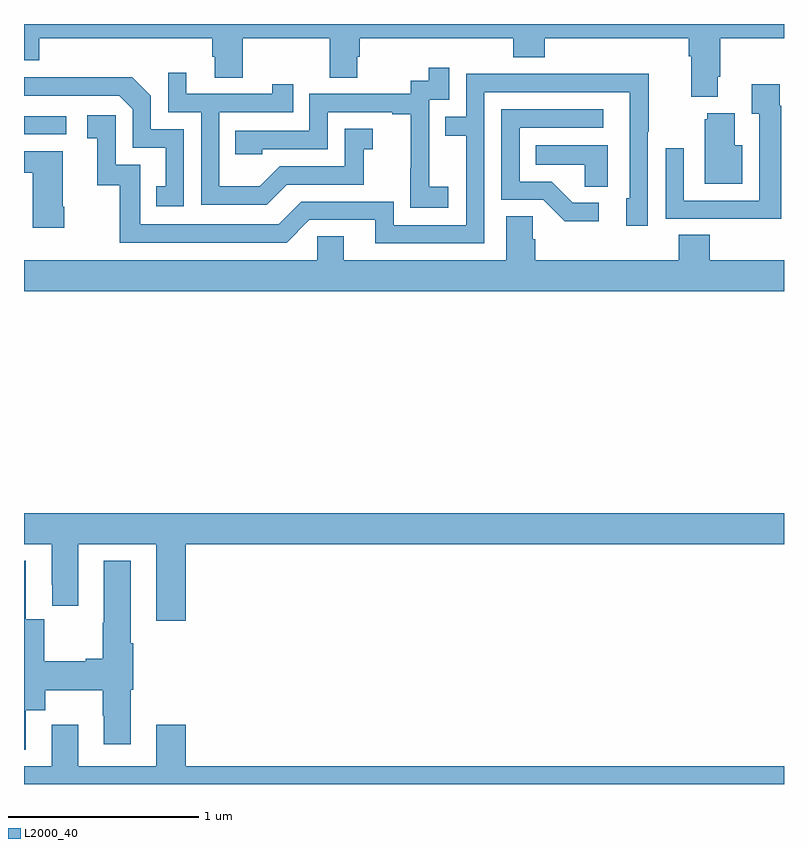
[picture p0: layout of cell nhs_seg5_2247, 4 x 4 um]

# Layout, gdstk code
import gdstk
lib = gdstk.Library(unit=1e-6, precision=1e-09)
def R(c, l, rs):  # rectangles x0, y0, x1, y1
    for r in rs: c.add(gdstk.rectangle(r[:2], r[2:], *l))
def P(c, l, *ps):  # polygons
    for p in ps: c.add(gdstk.Polygon(p, *l))
L2000_40 = (2000, 40)

nhs_seg5_2247 = lib.new_cell('nhs_seg5_2247')
R(nhs_seg5_2247, L2000_40, [(241,892.218,241.222,892.314)])
P(nhs_seg5_2247, L2000_40, [(244.651,892.522),(244.664,892.522),(244.664,892.724),(245,892.724),(245,892.799),(241,892.799),(241,892.607),(241.079,892.607),(241.079,892.724),(241.991,892.724),(241.991,892.626),(242.003,892.626),(242.003,892.516),(242.151,892.516),(242.151,892.724),(242.608,892.724),(242.608,892.516),(242.755,892.516),(242.755,892.626),(242.768,892.626),(242.768,892.724),(243.575,892.724),(243.575,892.625),(243.74,892.625),(243.74,892.724),(244.499,892.724),(244.499,892.628),(244.511,892.628),(244.511,892.415),(244.651,892.415)],
  [(243.232,891.943),(243.134,891.943),(243.134,892.172),(243.132,892.172),(243.132,892.401),(243.237,892.401),(243.237,892.57),(243.129,892.57),(243.129,892.5),(243.036,892.5),(243.036,892.431),(242.502,892.431),(242.502,892.236),(242.113,892.236),(242.113,892.113),(242.253,892.113),(242.253,892.14),(242.598,892.14),(242.598,892.335),(242.939,892.335),(242.939,892.323),(243.035,892.323),(243.035,892.039),(243.034,892.039),(243.034,891.833),(243.232,891.833)],
  [(242.383,891.954),(242.787,891.954),(242.787,892.139),(242.836,892.139),(242.836,892.249),(242.688,892.249),(242.688,892.05),(242.346,892.05),(242.242,891.946),(242.028,891.946),(242.028,892.335),(242.417,892.335),(242.417,892.483),(242.306,892.483),(242.306,892.431),(241.855,892.431),(241.855,892.543),(241.758,892.543),(241.758,892.335),(241.932,892.335),(241.932,891.849),(242.278,891.849)],
  [(243.423,892.44),(244.188,892.44),(244.188,891.882),(244.169,891.882),(244.169,891.738),(244.284,891.738),(244.284,892.231),(244.287,892.231),(244.287,892.538),(243.823,892.538),(243.823,892.536),(243.327,892.536),(243.327,892.311),(243.217,892.311),(243.217,892.21),(243.327,892.21),(243.327,891.741),(242.946,891.741),(242.946,891.864),(242.46,891.864),(242.34,891.744),(241.611,891.744),(241.611,892.059),(241.482,892.059),(241.482,892.318),(241.332,892.318),(241.332,892.197),(241.385,892.197),(241.385,891.951),(241.503,891.951),(241.503,891.648),(242.382,891.648),(242.502,891.768),(242.849,891.768),(242.849,891.645),(243.423,891.645)],
  [(241.842,892.245),(241.668,892.245),(241.668,892.422),(241.57,892.52),(241.162,892.52),(241.162,892.518),(241,892.518),(241,892.422),(241.5,892.422),(241.572,892.35),(241.572,892.149),(241.745,892.149),(241.745,891.945),(241.696,891.945),(241.696,891.84),(241.842,891.84)],
  [(244.985,892.37),(244.978,892.37),(244.978,892.483),(244.829,892.483),(244.829,892.327),(244.869,892.327),(244.869,891.87),(244.473,891.87),(244.473,892.144),(244.377,892.144),(244.377,891.774),(244.693,891.774),(244.693,891.773),(244.985,891.773)],
  [(244.024,891.858),(243.889,891.858),(243.778,891.969),(243.609,891.969),(243.609,892.254),(244.048,892.254),(244.048,892.35),(243.513,892.35),(243.513,891.873),(243.732,891.873),(243.845,891.761),(244.024,891.761)],
  [(244.78,892.162),(244.741,892.162),(244.741,892.33),(244.595,892.33),(244.595,892.299),(244.583,892.299),(244.583,891.959),(244.78,891.959)],
  [(244.072,892.162),(243.694,892.162),(243.694,892.058),(243.951,892.058),(243.951,891.943),(244.072,891.943)],
  [(241.212,891.838),(241.204,891.838),(241.204,892.129),(241,892.129),(241,892.015),(241.046,892.015),(241.046,891.726),(241.212,891.726)],
  [(242.544,891.683),(242.544,891.556),(241,891.556),(241,891.392),(245,891.392),(245,891.556),(244.61,891.556),(244.61,891.689),(244.445,891.689),(244.445,891.556),(243.692,891.556),(243.692,891.665),(243.678,891.665),(243.678,891.788),(243.539,891.788),(243.539,891.556),(242.683,891.556),(242.683,891.683)],
  [(241.85,890.06),(245,890.06),(245,890.224),(241,890.224),(241,890.06),(241.145,890.06),(241.145,889.849),(241.148,889.849),(241.148,889.737),(241.285,889.737),(241.285,890.06),(241.697,890.06),(241.697,889.659),(241.85,889.659)],
  [(241.009,889.186),(241.111,889.186),(241.111,889.292),(241.414,889.292),(241.414,889.158),(241.421,889.158),(241.421,889.008),(241.561,889.008),(241.561,889.296),(241.574,889.296),(241.574,889.54),(241.561,889.54),(241.561,889.975),(241.421,889.975),(241.421,889.649),(241.414,889.649),(241.414,889.457),(241.325,889.457),(241.325,889.444),(241.107,889.444),(241.107,889.667),(241.009,889.667),(241.009,889.975),(241,889.975),(241,889.563),(241.002,889.563),(241.002,889.287),(241,889.287),(241,888.978),(241.009,888.978)],
  [(245,888.892),(241.85,888.892),(241.85,889.111),(241.697,889.111),(241.697,888.892),(241.285,888.892),(241.285,889.111),(241.145,889.111),(241.145,888.892),(241,888.892),(241,888.799),(245,888.799)])

lib.write_gds('nhs_seg5_2247.gds')
